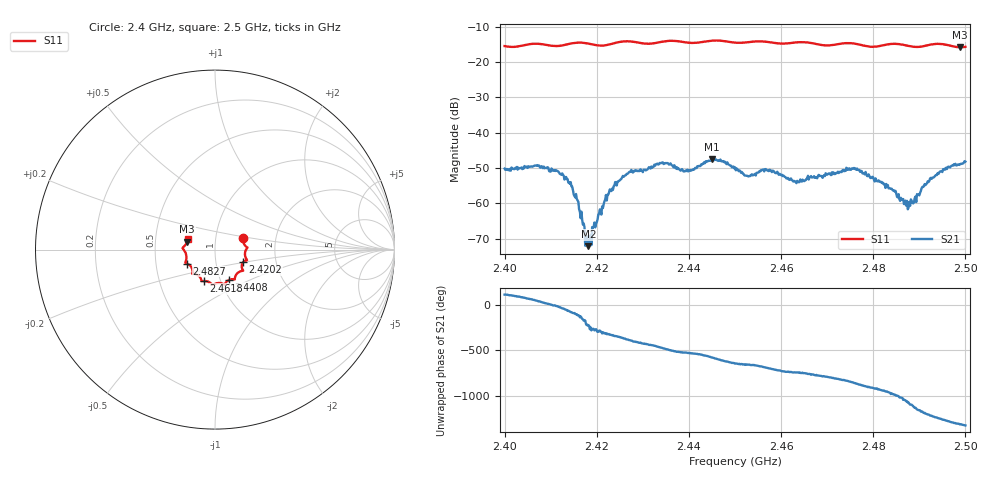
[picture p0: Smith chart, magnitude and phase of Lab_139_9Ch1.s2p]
# Hz S RI R 50
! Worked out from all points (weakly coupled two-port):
!   601 points, 2.4 GHz to 2.5 GHz, reference 50 ohm
!   highest |S21| = -47.49 dB at 2.445 GHz (marker M1); lowest = -72.1 dB at 2.4182 GHz (marker M2)
!   lowest |S11| = -15.8 dB at 2.4988 GHz (marker M3), VSWR 1.38, Z = 36.4 + j3.34 ohm
!   |S11| at or under -10 dB: start of sweep to end of sweep
!   S12 and S22 are empty: the file has one direction only
!   S11 on the Smith chart (normalised r, x): 2.4 GHz: 1.36, +0.17; 2.4202 GHz: 1.36, -0.20; 2.4408 GHz: 1.10, -0.38; 2.4618 GHz: 0.84, -0.30; 2.4827 GHz: 0.72, -0.12; 2.5 GHz: 0.73, +0.09
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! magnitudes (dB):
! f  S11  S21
! 2.4 GHz  -15.5  -50.1
! 2.4113 GHz  -15.5  -50.8
! 2.4142 GHz  -14.8  -54.5
! 2.4167 GHz  -14.5  -62.3
! 2.4182 GHz  -14.8  -72.1
! 2.4202 GHz  -15.3  -64.6
! 2.4223 GHz  -15.2  -57.5
! 2.4252 GHz  -14.3  -53.2
! 2.4333 GHz  -14.5  -49.0
! 2.4408 GHz  -14.6  -50.5
! 2.445 GHz  -14.0  -47.5
! 2.45 GHz  -14.5  -49.8
! 2.4525 GHz  -14.4  -52.1
! 2.4618 GHz  -14.7  -53.3
! 2.4667 GHz  -14.6  -52.6
! 2.476 GHz  -14.8  -50.3
! 2.4827 GHz  -15.1  -55.6
! 2.4833 GHz  -15.0  -55.7
! 2.488 GHz  -15.5  -60.7
! 2.4928 GHz  -15.0  -52.7
! 2.4988 GHz  -15.8  -48.9
! 2.5 GHz  -15.7  -48.2
